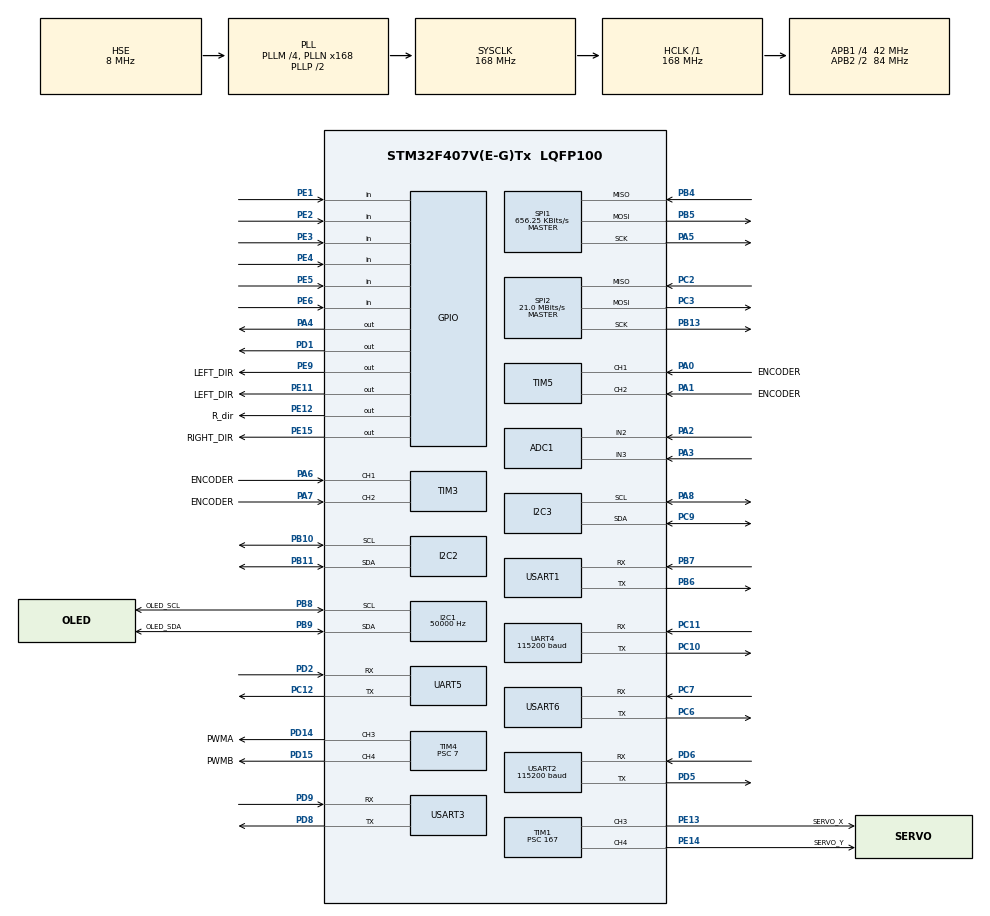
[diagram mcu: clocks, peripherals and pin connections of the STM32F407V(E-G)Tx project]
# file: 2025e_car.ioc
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ADC1.Channel-1\#ChannelRegularConversion=ADC_CHANNEL_2
ADC1.NbrOfConversionFlag=1
ADC1.Rank-1\#ChannelRegularConversion=1
ADC1.SamplingTime-1\#ChannelRegularConversion=ADC_SAMPLETIME_3CYCLES
ADC1.master=1
ADC2.Channel-3\#ChannelRegularConversion=ADC_CHANNEL_3
ADC2.NbrOfConversionFlag=1
ADC2.Rank-3\#ChannelRegularConversion=1
ADC2.SamplingTime-3\#ChannelRegularConversion=ADC_SAMPLETIME_3CYCLES
Dma.Request0=UART4_TX
Dma.Request1=UART4_RX
Dma.Request2=USART3_RX
Dma.Request3=UART5_RX
Dma.Request4=UART5_TX
Dma.Request5=USART6_RX
Dma.Request6=USART1_RX
Dma.Request7=USART1_TX
Dma.Request8=USART2_RX
Dma.Request9=USART2_TX
Dma.UART4_RX.1.Direction=DMA_PERIPH_TO_MEMORY
Dma.UART4_RX.1.FIFOMode=DMA_FIFOMODE_DISABLE
Dma.UART4_RX.1.Instance=DMA1_Stream2
Dma.UART4_RX.1.MemDataAlignment=DMA_MDATAALIGN_BYTE
Dma.UART4_RX.1.MemInc=DMA_MINC_ENABLE
Dma.UART4_RX.1.Mode=DMA_NORMAL
Dma.UART4_RX.1.PeriphDataAlignment=DMA_PDATAALIGN_BYTE
Dma.UART4_RX.1.PeriphInc=DMA_PINC_DISABLE
Dma.UART4_RX.1.Priority=DMA_PRIORITY_LOW
Dma.UART4_TX.0.Direction=DMA_MEMORY_TO_PERIPH
Dma.UART4_TX.0.FIFOMode=DMA_FIFOMODE_DISABLE
Dma.UART4_TX.0.Instance=DMA1_Stream4
Dma.UART4_TX.0.MemDataAlignment=DMA_MDATAALIGN_BYTE
Dma.UART4_TX.0.MemInc=DMA_MINC_ENABLE
Dma.UART4_TX.0.Mode=DMA_NORMAL
Dma.UART4_TX.0.PeriphDataAlignment=DMA_PDATAALIGN_BYTE
Dma.UART4_TX.0.PeriphInc=DMA_PINC_DISABLE
Dma.UART4_TX.0.Priority=DMA_PRIORITY_LOW
Dma.UART5_RX.3.Direction=DMA_PERIPH_TO_MEMORY
Dma.UART5_RX.3.FIFOMode=DMA_FIFOMODE_DISABLE
Dma.UART5_RX.3.Instance=DMA1_Stream0
Dma.UART5_RX.3.MemDataAlignment=DMA_MDATAALIGN_BYTE
Dma.UART5_RX.3.MemInc=DMA_MINC_ENABLE
Dma.UART5_RX.3.Mode=DMA_NORMAL
Dma.UART5_RX.3.PeriphDataAlignment=DMA_PDATAALIGN_BYTE
Dma.UART5_RX.3.PeriphInc=DMA_PINC_DISABLE
Dma.UART5_RX.3.Priority=DMA_PRIORITY_LOW
Dma.UART5_TX.4.Direction=DMA_MEMORY_TO_PERIPH
Dma.UART5_TX.4.FIFOMode=DMA_FIFOMODE_DISABLE
Dma.UART5_TX.4.Instance=DMA1_Stream7
Dma.UART5_TX.4.MemDataAlignment=DMA_MDATAALIGN_BYTE
Dma.UART5_TX.4.MemInc=DMA_MINC_ENABLE
Dma.UART5_TX.4.Mode=DMA_NORMAL
Dma.UART5_TX.4.PeriphDataAlignment=DMA_PDATAALIGN_BYTE
Dma.UART5_TX.4.PeriphInc=DMA_PINC_DISABLE
Dma.UART5_TX.4.Priority=DMA_PRIORITY_LOW
Dma.USART1_RX.6.Direction=DMA_PERIPH_TO_MEMORY
Dma.USART1_RX.6.FIFOMode=DMA_FIFOMODE_DISABLE
Dma.USART1_RX.6.Instance=DMA2_Stream2
Dma.USART1_RX.6.MemDataAlignment=DMA_MDATAALIGN_BYTE
Dma.USART1_RX.6.MemInc=DMA_MINC_ENABLE
Dma.USART1_RX.6.Mode=DMA_NORMAL
Dma.USART1_RX.6.PeriphDataAlignment=DMA_PDATAALIGN_BYTE
Dma.USART1_RX.6.PeriphInc=DMA_PINC_DISABLE
Dma.USART1_RX.6.Priority=DMA_PRIORITY_LOW
Dma.USART1_TX.7.Direction=DMA_MEMORY_TO_PERIPH
Dma.USART1_TX.7.FIFOMode=DMA_FIFOMODE_DISABLE
Dma.USART1_TX.7.Instance=DMA2_Stream7
Dma.USART1_TX.7.MemDataAlignment=DMA_MDATAALIGN_BYTE
Dma.USART1_TX.7.MemInc=DMA_MINC_ENABLE
Dma.USART1_TX.7.Mode=DMA_NORMAL
Dma.USART1_TX.7.PeriphDataAlignment=DMA_PDATAALIGN_BYTE
Dma.USART1_TX.7.PeriphInc=DMA_PINC_DISABLE
Dma.USART1_TX.7.Priority=DMA_PRIORITY_LOW
Dma.USART2_RX.8.Direction=DMA_PERIPH_TO_MEMORY
Dma.USART2_RX.8.FIFOMode=DMA_FIFOMODE_DISABLE
Dma.USART2_RX.8.Instance=DMA1_Stream5
Dma.USART2_RX.8.MemDataAlignment=DMA_MDATAALIGN_BYTE
Dma.USART2_RX.8.MemInc=DMA_MINC_ENABLE
Dma.USART2_RX.8.Mode=DMA_NORMAL
Dma.USART2_RX.8.PeriphDataAlignment=DMA_PDATAALIGN_BYTE
Dma.USART2_RX.8.PeriphInc=DMA_PINC_DISABLE
Dma.USART2_RX.8.Priority=DMA_PRIORITY_LOW
Dma.USART2_TX.9.Direction=DMA_MEMORY_TO_PERIPH
Dma.USART2_TX.9.FIFOMode=DMA_FIFOMODE_DISABLE
Dma.USART2_TX.9.Instance=DMA1_Stream6
Dma.USART2_TX.9.MemDataAlignment=DMA_MDATAALIGN_BYTE
Dma.USART2_TX.9.MemInc=DMA_MINC_ENABLE
Dma.USART2_TX.9.Mode=DMA_NORMAL
Dma.USART2_TX.9.PeriphDataAlignment=DMA_PDATAALIGN_BYTE
Dma.USART2_TX.9.PeriphInc=DMA_PINC_DISABLE
Dma.USART2_TX.9.Priority=DMA_PRIORITY_LOW
Dma.USART3_RX.2.Direction=DMA_PERIPH_TO_MEMORY
Dma.USART3_RX.2.FIFOMode=DMA_FIFOMODE_DISABLE
Dma.USART3_RX.2.Instance=DMA1_Stream1
Dma.USART3_RX.2.MemDataAlignment=DMA_MDATAALIGN_BYTE
Dma.USART3_RX.2.MemInc=DMA_MINC_ENABLE
Dma.USART3_RX.2.Mode=DMA_NORMAL
Dma.USART3_RX.2.PeriphDataAlignment=DMA_PDATAALIGN_BYTE
Dma.USART3_RX.2.PeriphInc=DMA_PINC_DISABLE
Dma.USART3_RX.2.Priority=DMA_PRIORITY_LOW
Dma.USART6_RX.5.Direction=DMA_PERIPH_TO_MEMORY
Dma.USART6_RX.5.FIFOMode=DMA_FIFOMODE_DISABLE
Dma.USART6_RX.5.Instance=DMA2_Stream1
Dma.USART6_RX.5.MemDataAlignment=DMA_MDATAALIGN_BYTE
Dma.USART6_RX.5.MemInc=DMA_MINC_ENABLE
Dma.USART6_RX.5.Mode=DMA_NORMAL
Dma.USART6_RX.5.PeriphDataAlignment=DMA_PDATAALIGN_BYTE
Dma.USART6_RX.5.PeriphInc=DMA_PINC_DISABLE
Dma.USART6_RX.5.Priority=DMA_PRIORITY_LOW
I2C1.ClockSpeed=50000
Mcu.Family=STM32F4
Mcu.Name=STM32F407V(E-G)Tx
Mcu.Package=LQFP100
NVIC.DMA1_Stream0_IRQn=true\:0\:0\:false\:false\:true\:false\:true\:true
NVIC.DMA1_Stream1_IRQn=true\:0\:0\:false\:false\:true\:false\:true\:true
NVIC.DMA1_Stream2_IRQn=true\:0\:0\:false\:false\:true\:false\:true\:true
NVIC.DMA1_Stream4_IRQn=true\:0\:0\:false\:false\:true\:false\:true\:true
NVIC.DMA1_Stream5_IRQn=true\:0\:0\:false\:false\:true\:false\:true\:true
NVIC.DMA1_Stream6_IRQn=true\:0\:0\:false\:false\:true\:false\:true\:true
NVIC.DMA1_Stream7_IRQn=true\:0\:0\:false\:false\:true\:false\:true\:true
NVIC.DMA2_Stream1_IRQn=true\:0\:0\:false\:false\:true\:false\:true\:true
NVIC.DMA2_Stream2_IRQn=true\:1\:2\:true\:false\:true\:false\:true\:true
NVIC.DMA2_Stream7_IRQn=true\:0\:0\:false\:false\:true\:false\:true\:true
NVIC.PriorityGroup=NVIC_PRIORITYGROUP_2
NVIC.TIM2_IRQn=true\:0\:0\:false\:false\:true\:true\:true\:true
NVIC.TIM5_IRQn=true\:0\:0\:false\:false\:true\:true\:true\:true
NVIC.UART4_IRQn=true\:1\:1\:true\:false\:true\:true\:true\:true
NVIC.UART5_IRQn=true\:0\:2\:false\:false\:true\:true\:true\:true
NVIC.USART1_IRQn=true\:1\:2\:true\:false\:true\:true\:true\:true
NVIC.USART2_IRQn=true\:0\:0\:false\:false\:true\:true\:true\:true
NVIC.USART3_IRQn=true\:0\:1\:true\:false\:true\:true\:true\:true
PA0-WKUP.GPIO_Label=ENCODER
PA0-WKUP.Signal=S_TIM5_CH1
PA1.GPIO_Label=ENCODER
PA1.Signal=S_TIM5_CH2
PA13.Mode=Serial_Wire
PA13.Signal=SYS_JTMS-SWDIO
PA14.Mode=Serial_Wire
PA14.Signal=SYS_JTCK-SWCLK
PA2.Signal=ADCx_IN2
PA3.Signal=ADCx_IN3
PA4.GPIO_Speed=GPIO_SPEED_FREQ_HIGH
PA4.Signal=GPIO_Output
PA5.Mode=Full_Duplex_Master
PA5.Signal=SPI1_SCK
PA6.GPIO_Label=ENCODER
PA6.Signal=S_TIM3_CH1
PA7.GPIO_Label=ENCODER
PA7.Signal=S_TIM3_CH2
PA8.Mode=I2C
PA8.Signal=I2C3_SCL
PB10.Mode=I2C
PB10.Signal=I2C2_SCL
PB11.Mode=I2C
PB11.Signal=I2C2_SDA
PB13.Mode=Full_Duplex_Master
PB13.Signal=SPI2_SCK
PB4.Mode=Full_Duplex_Master
PB4.Signal=SPI1_MISO
PB5.Mode=Full_Duplex_Master
PB5.Signal=SPI1_MOSI
PB6.Mode=Asynchronous
PB6.Signal=USART1_TX
PB7.Mode=Asynchronous
PB7.Signal=USART1_RX
PB8.GPIO_Label=OLED_SCL
PB8.Mode=I2C
PB8.Signal=I2C1_SCL
PB9.GPIO_Label=OLED_SDA
PB9.Mode=I2C
PB9.Signal=I2C1_SDA
PC10.Mode=Asynchronous
PC10.Signal=UART4_TX
PC11.Mode=Asynchronous
PC11.Signal=UART4_RX
PC12.Mode=Asynchronous
PC12.Signal=UART5_TX
PC2.Mode=Full_Duplex_Master
PC2.Signal=SPI2_MISO
PC3.Mode=Full_Duplex_Master
PC3.Signal=SPI2_MOSI
PC6.Mode=Asynchronous
PC6.Signal=USART6_TX
PC7.Mode=Asynchronous
PC7.Signal=USART6_RX
PC9.Mode=I2C
PC9.Signal=I2C3_SDA
PD1.Signal=GPIO_Output
PD14.GPIO_Label=PWMA
PD14.Signal=S_TIM4_CH3
PD15.GPIO_Label=PWMB
PD15.Signal=S_TIM4_CH4
PD2.Mode=Asynchronous
PD2.Signal=UART5_RX
PD5.Mode=Asynchronous
PD5.Signal=USART2_TX
PD6.Mode=Asynchronous
PD6.Signal=USART2_RX
PD8.Mode=Asynchronous
PD8.Signal=USART3_TX
PD9.Mode=Asynchronous
PD9.Signal=USART3_RX
PE1.GPIO_PuPd=GPIO_PULLUP
PE1.Signal=GPIO_Input
PE11.GPIO_Label=LEFT_DIR
PE11.Signal=GPIO_Output
PE12.GPIO_Label=R_dir
PE12.Signal=GPIO_Output
PE13.GPIO_Label=SERVO_X
PE13.Signal=S_TIM1_CH3
PE14.GPIO_Label=SERVO_Y
PE14.Signal=S_TIM1_CH4
PE15.GPIO_Label=RIGHT_DIR
PE15.Signal=GPIO_Output
PE2.GPIO_PuPd=GPIO_PULLUP
PE2.Signal=GPIO_Input
PE3.GPIO_PuPd=GPIO_PULLUP
PE3.Signal=GPIO_Input
PE4.GPIO_PuPd=GPIO_PULLUP
PE4.Signal=GPIO_Input
PE5.GPIO_PuPd=GPIO_PULLUP
PE5.Signal=GPIO_Input
PE6.GPIO_PuPd=GPIO_PULLUP
PE6.Signal=GPIO_Input
PE9.GPIO_Label=LEFT_DIR
PE9.Signal=GPIO_Output
PH0-OSC_IN.Mode=HSE-External-Oscillator
PH0-OSC_IN.Signal=RCC_OSC_IN
PH1-OSC_OUT.Mode=HSE-External-Oscillator
PH1-OSC_OUT.Signal=RCC_OSC_OUT
ProjectManager.HeapSize=0x200
ProjectManager.StackSize=0x400
ProjectManager.TargetToolchain=MDK-ARM V5.32
RCC.48MHZClocksFreq_Value=84000000
RCC.AHBFreq_Value=168000000
RCC.APB1CLKDivider=RCC_HCLK_DIV4
RCC.APB1Freq_Value=42000000
RCC.APB1TimFreq_Value=84000000
RCC.APB2CLKDivider=RCC_HCLK_DIV2
RCC.APB2Freq_Value=84000000
RCC.APB2TimFreq_Value=168000000
RCC.CortexFreq_Value=168000000
RCC.HCLKFreq_Value=168000000
RCC.HSE_VALUE=8000000
RCC.HSI_VALUE=16000000
RCC.LSE_VALUE=32768
RCC.PLLM=4
RCC.PLLN=168
RCC.PLLSourceVirtual=RCC_PLLSOURCE_HSE
RCC.SYSCLKFreq_VALUE=168000000
RCC.SYSCLKSource=RCC_SYSCLKSOURCE_PLLCLK
RCC.VCOOutputFreq_Value=336000000
SH.ADCx_IN2.0=ADC1_IN2,IN2
SH.ADCx_IN3.0=ADC1_IN3,IN3
SH.ADCx_IN3.1=ADC2_IN3,IN3
SH.S_TIM1_CH3.0=TIM1_CH3,PWM Generation3 CH3
SH.S_TIM1_CH4.0=TIM1_CH4,PWM Generation4 CH4
SH.S_TIM3_CH1.0=TIM3_CH1,Encoder_Interface
SH.S_TIM3_CH2.0=TIM3_CH2,Encoder_Interface
SH.S_TIM4_CH3.0=TIM4_CH3,PWM Generation3 CH3
SH.S_TIM4_CH4.0=TIM4_CH4,PWM Generation4 CH4
SH.S_TIM5_CH1.0=TIM5_CH1,Encoder_Interface
SH.S_TIM5_CH2.0=TIM5_CH2,Encoder_Interface
SPI1.BaudRatePrescaler=SPI_BAUDRATEPRESCALER_128
SPI1.CalculateBaudRate=656.25 KBits/s
SPI1.Direction=SPI_DIRECTION_2LINES
SPI1.Mode=SPI_MODE_MASTER
SPI1.VirtualType=VM_MASTER
SPI2.CalculateBaudRate=21.0 MBits/s
SPI2.Direction=SPI_DIRECTION_2LINES
SPI2.Mode=SPI_MODE_MASTER
SPI2.VirtualType=VM_MASTER
TIM1.Channel-PWM\ Generation3\ CH3=TIM_CHANNEL_3
TIM1.Channel-PWM\ Generation4\ CH4=TIM_CHANNEL_4
TIM1.Period=19999
TIM1.Prescaler=167
TIM2.AutoReloadPreload=TIM_AUTORELOAD_PRELOAD_ENABLE
TIM2.Period=999
TIM2.Prescaler=83
TIM3.EncoderMode=TIM_ENCODERMODE_TI12
TIM4.Channel-PWM\ Generation3\ CH3=TIM_CHANNEL_3
TIM4.Channel-PWM\ Generation4\ CH4=TIM_CHANNEL_4
TIM4.Period=1050
TIM4.Prescaler=7
TIM5.EncoderMode=TIM_ENCODERMODE_TI12
UART4.BaudRate=115200
UART4.VirtualMode=Asynchronous
UART5.VirtualMode=Asynchronous
USART1.VirtualMode=VM_ASYNC
USART2.BaudRate=115200
USART2.VirtualMode=VM_ASYNC
USART3.VirtualMode=VM_ASYNC
USART6.VirtualMode=VM_ASYNC
VP_TIM2_VS_ClockSourceINT.Mode=Internal
board=custom

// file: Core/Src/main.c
/* USER CODE BEGIN Header */
/**
  ******************************************************************************
  * @file           : main.c
  * @brief          : Main program body
  ******************************************************************************
  * @attention
  *
  * Copyright (c) 2025 STMicroelectronics.
  * All rights reserved.
  *
  * This software is licensed under terms that can be found in the LICENSE file
  * in the root directory of this software component.
  * If no LICENSE file comes with this software, it is provided AS-IS.
  *
  ******************************************************************************
  */
/* USER CODE END Header */
#include "main.h"
#include "adc.h"
#include "dma.h"
#include "i2c.h"
#include "spi.h"
#include "tim.h"
#include "usart.h"
#include "gpio.h"

/* USER CODE BEGIN Includes */
#include "board.h"

/* USER CODE END Includes */

/* USER CODE BEGIN PTD */
extern int32_t left_encoder_count;
extern int32_t right_encoder_count;

// 视觉数据结构体定�????????????
typedef struct {
    float error_x;           // X方向误差
    float error_y;           // Y方向误差
    uint8_t target_detected; // 目标�????????????测标�????????????
    uint8_t data_ready;      // 数据就绪标志
} Vision_Data_t;
extern SPI_HandleTypeDef hspi1;  // ??SPI??

/* USER CODE END PTD */

/* USER CODE BEGIN PV */
// 任务状�?�标�???
static uint8_t mission_started = 0;  // 任务是否已启动标�???
static uint8_t last_fire_id = 0;     // 上次接收到的火源ID
// ???????4KB?
uint32_t sector_addr = 0x000000;  // ??????
//uint32_t write_addr = 0x000000;  // ????

// 小车初始化函�????????????
void car_init(void)
{

  Motor_PWM_StartAll();//TIM1 pwm11
  HAL_TIM_Base_Start_IT(&htim2);//1msĺŽćś
  OLED_Init();
  // ĺŻĺ¨ĺˇŚč˝Žçźç ???????????????(TIM3)
  HAL_TIM_Encoder_Start(&htim3, TIM_CHANNEL_ALL);
  // ĺŻĺ¨ĺłč˝Žçźç ???????????????(TIM4)
  HAL_TIM_Encoder_Start(&htim5, TIM_CHANNEL_ALL);
  Uart_Init();

  // ĺĺ§ĺPIDć§ĺś???????????????
  pid_init_all();
  // čŽžç˝Žĺĺ§çŽć éĺşŚ0
  set_target_speed(0.0f, 0.0f);
  // ĺĺ§ĺĺŻźčŞçłť???????????????
  navy_init();
  Servo_Init();
	Mission_Init();

  // __HAL_RCC_SPI1_CLK_ENABLE();
  // W25Q128_Init(&hspi1);
  // W25Q128_SectorErase(sector_addr);

}

// �???查并处理飞机发�?�的火源ID
void Check_And_Start_Mission(void)
{
    // �???查是否接收到有效的火源ID
    if (drone_data.fire_id != 0 && drone_data.fire_id != last_fire_id)
    {
        // 接收到新的火源ID
        last_fire_id = drone_data.fire_id;

        // 验证火源ID是否在有效范围内
        if (drone_data.fire_id >= 1 && drone_data.fire_id <= 6)
        {
            // 尝试启动对应的灭火任�???
            uint8_t result = Mission_StartByFireId(drone_data.fire_id);

            switch (result)
            {
            case 0:
                // 任务启动失败（无效ID或未定义任务�???
                // 可以在这里添加错误指示，比如LED闪烁
               // HAL_GPIO_WritePin(GPIOD, GPIO_PIN_1, GPIO_PIN_RESET); // 错误指示
                break;
            case 1:
                // 任务成功启动
                mission_started = 1;
                // 可以在这里添加成功指示，比如LED常亮
                //HAL_GPIO_WritePin(GPIOD, GPIO_PIN_1, GPIO_PIN_SET); // 成功指示
                break;
            case 2:
                // 相同任务已在执行�???
                mission_started = 1; // 确保标志位正�???
                break;
            }
        }
    }
}

int jim =0;
uint8_t ftest=0;
uint32_t write_addr = 0x001000;  // Flash????
uint32_t flash_id = 0;           // Flash ID????
uint8_t flash_byte1 = 0;         // Flash ID?1???
uint8_t flash_byte2 = 0;         // Flash ID?2???
uint8_t flash_byte3 = 0;         // Flash ID?3???
uint8_t spi_status_code = 0;     // SPI???

/* USER CODE END PV */

void SystemClock_Config(void);

/* USER CODE BEGIN 0 */
void TIM2_Task_1000Hz(void)
{
  // 1000HzäťťĺĄďźćŻ1msć§čĄ??????????????????????????????
  //HAL_GPIO_TogglePin(GPIOD, GPIO_PIN_1);
  // 1. ć´ć°çźç ĺ¨čŽĄć°ĺč˝Ź?čŽĄ???????????????
  encoder_count();
  // 2. čŽĄçŽçşż?ĺşŚ
  Calculate_speed(left_wheel_rpm, right_wheel_rpm);
}

void TIM2_Task_100Hz(void)
{
  // 100HzäťťĺĄďźćŻ10msć§čĄ??????????????????????????????
    HAL_GPIO_TogglePin(GPIOD, GPIO_PIN_1);

  // 1. ć´ć°ĺ˝ĺä˝ç˝Žĺć 
  updatePosition();
 	//HAL_UART_Transmit(&huart3, (uint8_t *)&jim, 1, HAL_MAX_DELAY);
  // 2. ć´ć°ĺŻźčŞć§ĺś
  updateNavigation_control();

  // 3. ć§čĄPIDć§ĺśčŽĄçŽĺçľćşčž???????????????
  // ĺĺŤéĺşŚçŻĺč˝ŹĺçŻçć§ĺś
  //wheels_pid_control_auto_with_yaw();
	wheels_pid_control_auto();
  // 4. ĺŻäťĽćˇťĺ ĺśäťä˝é˘äťťĺĄďźĺŚLEDçś?ć´ć°?ćéŽćŁćľç­
  // čżéććśä¸ćˇťĺ ĺśäťäťť???????????????
	//printf("vision:%f,%f\n",vision_data.error_x,vision_data.error_y);

    printf("count:%d,%d\n",left_encoder_count,right_encoder_count);
   // printf("%f,%f\n", left_wheel_speed, right_wheel_speed);
   //printf("%f\n", IMU_data.YawZ);
    // 更新舵机控制
    Servo_Update(); //已在Mission_Update();调用 3 记得改回�??????
    	//printf("%f\n",IMU_data.YawZ);

  //update_rotation_task();

      // 10Hz任务计数�??
    static uint8_t counter_10hz = 0;
    counter_10hz++;
    if (counter_10hz >= 10) // �??10次调用，�??100ms
    {
        counter_10hz = 0;
     // drone_display_task();
          //OLED_ShowNum(10,5,111,2,16,0);

    }
}

/* USER CODE END 0 */

int main(void)
{

  /* MCU Configuration--------------------------------------------------------*/

  /* Reset of all peripherals, Initializes the Flash interface and the Systick. */
  HAL_Init();

  /* Configure the system clock */
  SystemClock_Config();

  /* Initialize all configured peripherals */
  MX_GPIO_Init();
  MX_DMA_Init();
  MX_TIM2_Init();
  MX_TIM3_Init();
  MX_TIM4_Init();
  MX_UART4_Init();
  MX_UART5_Init();
  MX_USART1_UART_Init();
  MX_USART3_UART_Init();
  MX_USART6_UART_Init();
  MX_I2C2_Init();
  MX_USART2_UART_Init();
  MX_TIM5_Init();
  MX_TIM1_Init();
  MX_I2C1_Init();
  MX_I2C3_Init();
  MX_SPI1_Init();
  MX_SPI2_Init();
  MX_ADC1_Init();
  MX_ADC2_Init();
  /* USER CODE BEGIN 2 */
  car_init();
  Uart_Init();
  //init_example();
 // drone_data.drone_x=27.0f;
  //Mission_StartFire1();

  HAL_Delay(1000);

  //vision_data.target_detected = 0;//测试�???

  // 可�?�：测试用，模拟接

  //收火源ID（调试时使用�???
  // Test_Fire_ID_Reception(1);  // 取消注释来测试火�???1
  /* USER CODE END 2 */

  /* Infinite loop */
  /* USER CODE BEGIN WHILE */
  while (1)
  {
    // �???查并处理飞机发�?�的火源ID（只在任务未启动时检查）
    Process_Drone_Data();
	  Key();
    if (!mission_started)
    {
        Check_And_Start_Mission();
    }
      if (delay_ms_nb_id(500, 5))
      {  // 使用ID=3的延�??

          //drone_data.fire_id=2;
          //drone_display_task();
          //set_image_aph(drone_data.fire_id, 127); // 显示火源1
          draw_fly((int)drone_data.drone_x, (int)drone_data.drone_y);
              //display_coordinates("main.t0", drone_data.drone_x, drone_data.drone_y, 0);  // 假设t0是坐标显示控�?
          // Flash????????????Flash
          ftest++;

          // ??????????????????ftest=1????
                  // if (ftest == 1) {
                  //     W25Q128_SectorErase(write_addr);
                  // }

                  // // ??ftest?Flash
                  // W25Q128_PageProgram(write_addr, (uint8_t*)&ftest, sizeof(ftest));
	     // set_image_aph(3, 0); // 显示火源1
      }
//    OLED_ShowNum(10,1,drone_data.drone_x,5,16,0);
//    OLED_ShowNum(30,1,drone_data.fire_id,5,16,0);
//    OLED_ShowNum(10,3,drone_data.drone_y,5,16,0);
//        OLED_ShowNum(10,5,fire_x_f,5,16,0);
//    OLED_ShowNum(30,5,fire_y_f,5,16,0);
	 // OLED_ShowNum(10,1,Key_KeyNumber,5,16,0);

   // OLED_ShowNum(10,1,left_wheel_speed,5,16,0);
   //  OLED_ShowNum(10,3,right_wheel_speed,5,16,0);
    // printf("%f,%f\n",left_wheel_speed,right_wheel_speed);
	//	navyTest();
    // 更新任务状�?�机
    Mission_Update();

    // 可�?�：显示调试信息
     OLED_ShowNum(10,1,vision_data.error_x,10,16,0);
    OLED_ShowNum(10,4,vision_data.error_y,10,16,0);

     // ??SPI???Flash ID?????0x90???
    //  OLED_ShowNum(10,5,spi_status_code,1,16,0);  // SPI?? (0=??)
    //  OLED_ShowNum(30,5,flash_byte1,3,16,0);      // ???ID
      //OLED_ShowNum(60,5,IMU_data.YawZ,3,16,0);      // ??ID
    // OLED_ShowNum(90,5,flash_id,5,16,0);         // ??ID?
    // OLED_ShowNum(10,6,drone_data.fire_id,1,16,0);  // 显示接收到的火源ID

    // Display_DebugStatus();
    // Waypoint_Update();
       //HAL_Delay(100);  // 添加延时，降低刷新频�???????

// Motor_PWM_SetRight(300);
// Motor_PWM_SetLeft(100);

    /*
    if (HAL_GPIO_ReadPin(GPIOA, GPIO_PIN_0) == GPIO_PIN_SET)
    {
      // ćä¸ćéŽćśďźć§čĄĺŻźčŞćľčŻ
      HAL_Delay(200);  // ćéŽćść
      if (HAL_GPIO_ReadPin(GPIOA, GPIO_PIN_0) == GPIO_PIN_SET)
      {
        // ćľčŻĺŻźčŞĺ°ĺć çš(10.0, 10.0)
        navyTest(10.0f, 10.0f);
      }
    }

    /* USER CODE END WHILE */

  }
}

void SystemClock_Config(void)
{
  RCC_OscInitTypeDef RCC_OscInitStruct = {0};
  RCC_ClkInitTypeDef RCC_ClkInitStruct = {0};

  /** Configure the main internal regulator output voltage
  */
  __HAL_RCC_PWR_CLK_ENABLE();
  __HAL_PWR_VOLTAGESCALING_CONFIG(PWR_REGULATOR_VOLTAGE_SCALE1);

  /** Initializes the RCC Oscillators according to the specified parameters
  * in the RCC_OscInitTypeDef structure.
  */
  RCC_OscInitStruct.OscillatorType = RCC_OSCILLATORTYPE_HSE;
  RCC_OscInitStruct.HSEState = RCC_HSE_ON;
  RCC_OscInitStruct.PLL.PLLState = RCC_PLL_ON;
  RCC_OscInitStruct.PLL.PLLSource = RCC_PLLSOURCE_HSE;
  RCC_OscInitStruct.PLL.PLLM = 4;
  RCC_OscInitStruct.PLL.PLLN = 168;
  RCC_OscInitStruct.PLL.PLLP = RCC_PLLP_DIV2;
  RCC_OscInitStruct.PLL.PLLQ = 4;
  if (HAL_RCC_OscConfig(&RCC_OscInitStruct) != HAL_OK)
  {
    Error_Handler();
  }

  /** Initializes the CPU, AHB and APB buses clocks
  */
  RCC_ClkInitStruct.ClockType = RCC_CLOCKTYPE_HCLK|RCC_CLOCKTYPE_SYSCLK
                              |RCC_CLOCKTYPE_PCLK1|RCC_CLOCKTYPE_PCLK2;
  RCC_ClkInitStruct.SYSCLKSource = RCC_SYSCLKSOURCE_PLLCLK;
  RCC_ClkInitStruct.AHBCLKDivider = RCC_SYSCLK_DIV1;
  RCC_ClkInitStruct.APB1CLKDivider = RCC_HCLK_DIV4;
  RCC_ClkInitStruct.APB2CLKDivider = RCC_HCLK_DIV2;

  if (HAL_RCC_ClockConfig(&RCC_ClkInitStruct, FLASH_LATENCY_5) != HAL_OK)
  {
    Error_Handler();
  }
}

void Error_Handler(void)
{
  __disable_irq();
  while (1)
  {
  }
}
